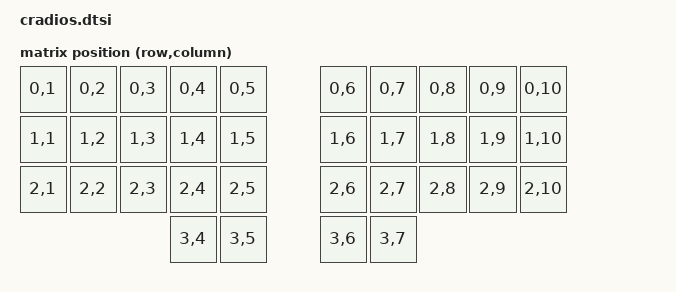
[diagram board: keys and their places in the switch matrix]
/*
 * Copyright (c) 2020 Pete Johanson
 *
 * SPDX-License-Identifier: MIT
 */
 #include <dt-bindings/zmk/matrix-transform.h>
 
/ {
	chosen {
		zmk,kscan = &kscan0;
		zmk,matrix_transform = &default_transform;
	};

		
	default_transform: keymap_transform_0 {
	compatible = "zmk,matrix-transform";
        columns = <10>;
        rows = <4>;
		map = <
RC(0,1) RC(0,2) RC(0,3) RC(0,4) RC(0,5)  RC(0,6) RC(0,7) RC(0,8) RC(0,9) RC(0,10)
RC(1,1) RC(1,2) RC(1,3) RC(1,4) RC(1,5)  RC(1,6) RC(1,7) RC(1,8) RC(1,9) RC(1,10)
RC(2,1) RC(2,2) RC(2,3) RC(2,4) RC(2,5)  RC(2,6) RC(2,7) RC(2,8) RC(2,9) RC(2,10)
                        RC(3,4) RC(3,5)  RC(3,6) RC(3,7)
		>;
	};	
	
			kscan0: kscan {
			compatible = "zmk,kscan-gpio-direct";
	};
	
		};
